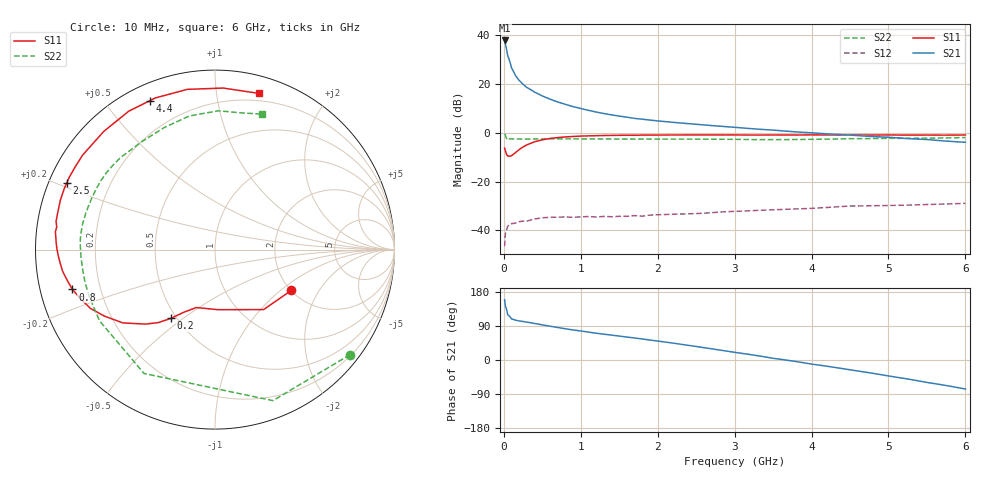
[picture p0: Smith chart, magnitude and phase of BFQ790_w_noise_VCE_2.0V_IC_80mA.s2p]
! Infineon Technologies  Discrete & RF Semiconductors
! BFQ790
! VCE =  2.0 V,  IC =  80 mA
! Common Emitter S-Parameters:  May 2015
# GHz  S  MA  R  50
!  f  S11  S21  S12  S22
! GHz  MAG  ANG  MAG  ANG  MAG  ANG  MAG  ANG
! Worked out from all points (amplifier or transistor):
!   77 points, 10 MHz to 6 GHz, reference 50 ohm
!   highest |S21| = 38.0 dB at 10 MHz (marker M1)
!   |S21| within 3 dB of that: start of sweep to 30.91 MHz
!   unconditionally stable (mu >= 1): 299.6 MHz to 301.5 MHz; 1.316 GHz to end of sweep
!   at 130 MHz: K = 0.67, MSG = 31.1 dB, |S12| = -37.2 dB
!   at 2.2 GHz: K = 1.17, MAG = 16.4 dB, |S12| = -33.4 dB
!   at 6 GHz: K = 1.35, MAG = 9.0 dB, |S12| = -29.0 dB
!   lowest NFmin = 2.44 dB at 1.5 GHz
!   S11 on the Smith chart (normalised r, x): 10 MHz: 2.02, -1.19; 200 MHz: 0.47, -0.45; 800 MHz: 0.10, -0.14; 2.5 GHz: 0.05, +0.21; 4.4 GHz: 0.07, +0.65; 6 GHz: 0.14, +1.31
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0.01  0.4827 -28.0  78.98 159.1  0.0047 68.5  0.9532 -37.9
0.02  0.4301 -51.0  67.17 142.4  0.0085 53.1  0.9013 -69.0
0.05  0.3351 -87.1  38.7 119.2  0.0121 26.8  0.7953 -119.8
0.1  0.3394 -108.0  21.54 108.4  0.0136 18.5  0.7558 -148.3
0.15  0.3909 -116.6  15.12 105.1  0.014 18.0  0.7479 -159.5
0.2  0.4535 -122.5  11.88 103.1  0.015 18.1  0.7469 -165.6
0.25  0.5145 -127.8  9.914 101.6  0.0154 15.8  0.7455 -169.5
0.3  0.5664 -132.9  8.545 99.9  0.0154 14.7  0.7456 -172.5
0.4  0.6562 -141.5  6.844 96.3  0.017 12.3  0.7479 -176.9
0.5  0.7185 -148.9  5.719 92.7  0.018 9.9  0.7494 179.9
0.6  0.7672 -154.7  4.927 89.3  0.0184 10.0  0.7518 177.3
0.7  0.798 -160.0  4.308 85.7  0.0185 8.8  0.7527 175.1
0.8  0.8249 -164.4  3.849 82.5  0.0187 5.6  0.752 173.3
1.1  0.8661 -175.1  2.896 73.6  0.0191 2.8  0.7507 168.3
1.5  0.8897 175.5  2.207 63.1  0.0193 0.7  0.7458 162.7
2.1  0.9019 164.2  1.699 47.3  0.021 -1.2  0.7427 154.1
2.5  0.9057 155.9  1.498 35.7  0.022 -4.3  0.7415 146.7
3.1  0.9031 142.3  1.261 17.4  0.0247 -10.5  0.7308 133.5
4.1  0.9059 119.9  0.977 -13.6  0.0287 -22.2  0.7384 110.1
4.4  0.9056 113.5  0.915 -22.6  0.0307 -27.1  0.7514 103.1
5.1  0.9015 97.3  0.791 -45.2  0.0324 -39.6  0.7722 86.5
6  0.9038 74.4  0.641 -76.6  0.0356 -57.4  0.7993 70.8
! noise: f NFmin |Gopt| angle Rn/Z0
0.45  3.61  0.36  127  0.38
0.9  2.62  0.51  162  0.14
1.5  2.44  0.64  -176  0.07
1.8  2.6  0.66  -171  0.08
2.6  3.1  0.71  -153  0.19
3.5  3.8  0.82  -137  0.47
